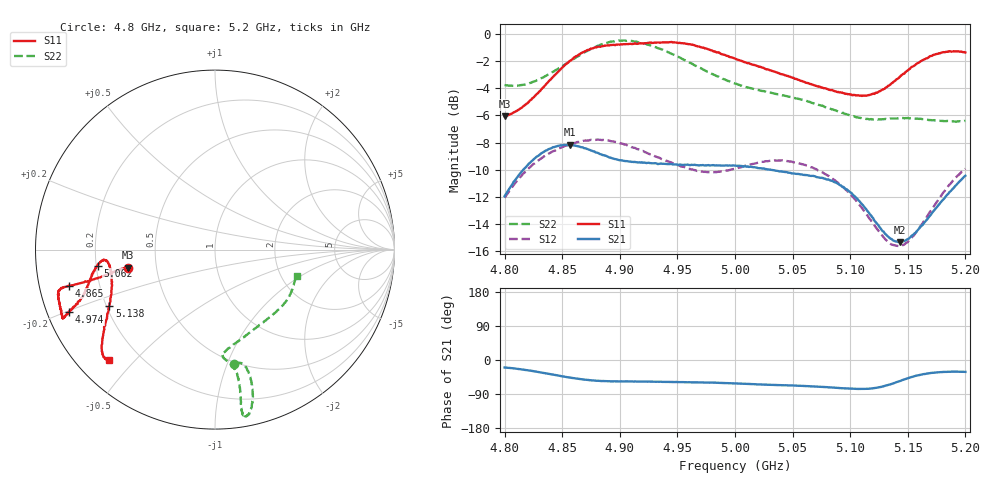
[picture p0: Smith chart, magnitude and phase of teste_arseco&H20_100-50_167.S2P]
! Network Analyzer HP8722D
! Hewlett-Packard
! Data name: Linha & Wilkinson
! Saver's name: Rodrigo Anjos
! Comments: Teste da utilização de aquisição
! continua pelo VNA HP8722D
! Time and date: 6/5/2025 13:57
!  Frequency  S11  S21  S12  S22
# HZ  S  MA R 50
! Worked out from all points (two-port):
!   401 points, 4.8 GHz to 5.2 GHz, reference 50 ohm
!   highest |S21| = -8.15 dB at 4.857 GHz (marker M1); lowest = -15.3 dB at 5.143 GHz (marker M2)
!   |S21| within 3 dB of the highest: 4.806 GHz to 5.092 GHz (286.1 MHz wide, 5.78 % of centre); 5.191644 GHz to end of sweep
!   lowest |S11| = -6.1 dB at 4.8 GHz (marker M3), VSWR 2.98, Z = 16.9 - j4.55 ohm
!   |S11| at or under -10 dB: nowhere
!   |S22| runs from -6.5 to -0.5 dB; largest |S21 - S12| = 0.62
!   S11 on the Smith chart (normalised r, x): 4.8 GHz: 0.34, -0.09; 4.865 GHz: 0.09, -0.12; 4.974 GHz: 0.06, -0.20; 5.062 GHz: 0.21, -0.06; 5.138 GHz: 0.21, -0.24; 5.2 GHz: 0.09, -0.42
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4.8e9  0.4976 -168.3  0.2531 -19.8  0.2497 -141.0  0.6476 -80.4
4.83e9  0.6126 -167.0  0.3581 -32.1  0.3437 -145.5  0.6796 -75.2
4.857e9  0.7963 -166.0  0.3912 -46.6  0.3926 -150.5  0.7936 -74.8
4.865e9  0.8402 -166.2  0.3849 -50.1  0.4009 -152.0  0.833 -75.3
4.867e9  0.8495 -166.0  0.3828 -51.1  0.4022 -152.2  0.8438 -75.5
4.88e9  0.8923 -165.5  0.3658 -54.9  0.4081 -154.4  0.9002 -76.8
4.899e9  0.9128 -163.0  0.3437 -56.6  0.3977 -156.9  0.9442 -79.2
4.934e9  0.9279 -156.6  0.3326 -57.6  0.351 -155.9  0.8829 -80.6
4.949e9  0.9281 -155.7  0.3312 -57.8  0.3313 -153.1  0.8286 -80.2
4.974e9  0.8832 -156.9  0.3282 -59.4  0.311 -145.7  0.7319 -79.6
5e9  0.8102 -159.3  0.3277 -61.9  0.3193 -137.4  0.656 -81.4
5.036e9  0.7213 -165.8  0.3138 -66.0  0.3418 -134.6  0.6002 -85.6
5.062e9  0.6602 -172.3  0.3026 -68.7  0.3279 -136.4  0.5667 -83.8
5.067e9  0.6506 -173.2  0.3006 -69.3  0.3228 -137.0  0.5565 -82.7
5.099e9  0.6 -172.6  0.264 -75.6  0.2598 -139.0  0.502 -67.9
5.116e9  0.5953 -165.6  0.2207 -76.0  0.2116 -135.6  0.4854 -55.7
5.134e9  0.6465 -154.3  0.1781 -65.1  0.1705 -120.6  0.4871 -43.2
5.138e9  0.6676 -151.9  0.1736 -61.0  0.1672 -115.4  0.488 -40.8
5.143e9  0.6939 -149.5  0.1715 -55.8  0.1659 -108.9  0.4878 -38.0
5.154e9  0.7573 -144.6  0.1819 -44.3  0.1795 -95.1  0.4883 -32.3
5.172e9  0.8355 -139.2  0.2221 -33.7  0.2303 -81.3  0.4809 -24.5
5.2e9  0.8531 -133.8  0.3007 -31.4  0.3193 -77.0  0.4779 -17.6
